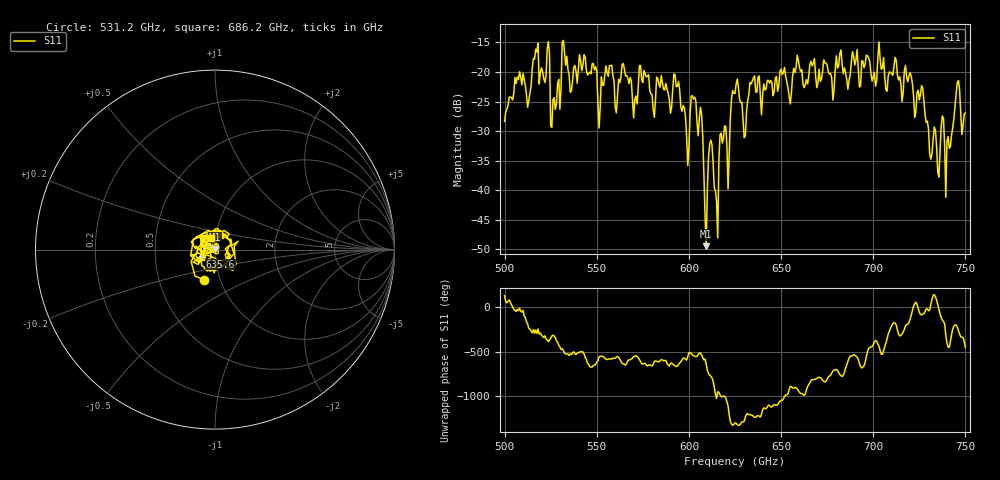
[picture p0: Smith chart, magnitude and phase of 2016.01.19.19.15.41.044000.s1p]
!Created with skrf (http://scikit-rf.org).
# GHz S RI R 50.0
!freq ReS11 ImS11
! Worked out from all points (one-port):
!   401 points, 500 GHz to 750 GHz, reference 50 ohm
!   lowest |S11| = -49.4 dB at 609.4 GHz (marker M1), VSWR 1.01, Z = 50.1 + j0.333 ohm
!   |S11| at or under -10 dB: start of sweep to end of sweep
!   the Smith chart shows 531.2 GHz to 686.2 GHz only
!   S11 on the Smith chart (normalised r, x): 531.2 GHz: 0.84, -0.29; 635.6 GHz: 0.84, -0.07; 686.2 GHz: 0.94, +0.13
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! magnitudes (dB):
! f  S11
! 500 GHz  -28.4
! 506.9 GHz  -20.8
! 513.1 GHz  -24.8
! 516.9 GHz  -16.1
! 523.1 GHz  -16.0
! 526.2 GHz  -24.7
! 531.2 GHz  -15.0
! 562.5 GHz  -21.8
! 593.8 GHz  -22.4
! 598.8 GHz  -30.9
! 602.5 GHz  -24.6
! 606.2 GHz  -26.0
! 609.4 GHz  -49.4
! 611.9 GHz  -31.5
! 615 GHz  -41.9
! 618.1 GHz  -32.0
! 621.2 GHz  -39.8
! 625 GHz  -23.7
! 630 GHz  -31.1
! 635.6 GHz  -20.7
! 656.2 GHz  -20.6
! 686.2 GHz  -22.9
! 687.5 GHz  -20.5
! 718.8 GHz  -21.7
! 735 GHz  -36.9
! 740.6 GHz  -30.9
! 745.6 GHz  -21.8
! 750 GHz  -26.9
